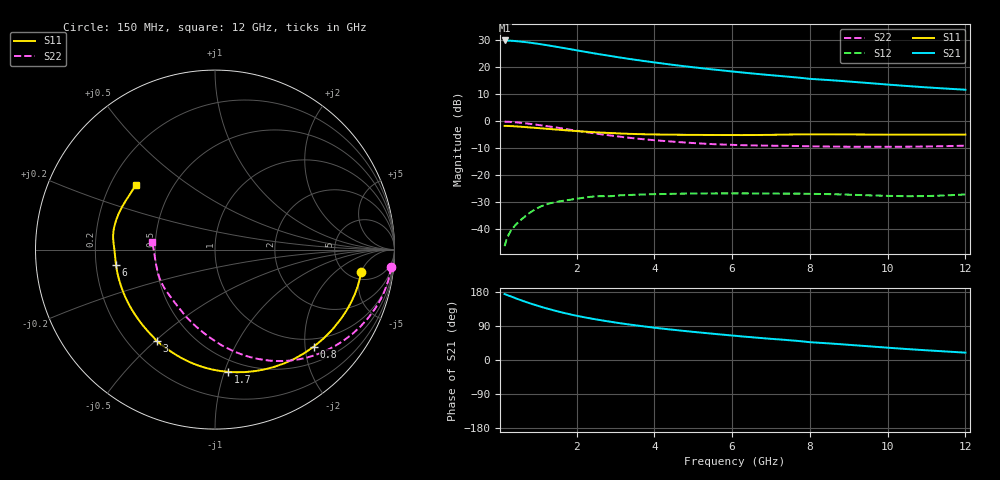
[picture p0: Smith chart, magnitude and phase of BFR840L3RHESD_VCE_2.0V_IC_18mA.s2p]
! Infineon Technologies  Discrete & RF Semiconductors
! BFR840L3RHESD
! VCE =  2.0 V,  IC =  18 mA
! Common Emitter S-Parameters:  Jun 2012
# GHz  S  MA  R  50
!  f  S11  S21  S12  S22
! GHz  MAG  ANG  MAG  ANG  MAG  ANG  MAG  ANG
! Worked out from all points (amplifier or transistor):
!   91 points, 150 MHz to 12 GHz, reference 50 ohm
!   highest |S21| = 29.9 dB at 150 MHz (marker M1)
!   |S21| within 3 dB of that: start of sweep to 1.748 GHz
!   unconditionally stable (mu >= 1): 7.643 GHz to end of sweep
!   at 1.3 GHz: K = 0.18, MSG = 29.2 dB, |S12| = -30.4 dB
!   at 4.3 GHz: K = 0.54, MSG = 24.1 dB, |S12| = -26.9 dB
!   at 12 GHz: K = 1.84, MAG = 14.1 dB, |S12| = -27.1 dB
!   S11 on the Smith chart (normalised r, x): 150 MHz: 6.42, -4.98; 800 MHz: 0.82, -2.19; 1.7 GHz: 0.40, -1.03; 3 GHz: 0.32, -0.50; 6 GHz: 0.29, -0.07; 12 GHz: 0.31, +0.32
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0.15  0.8236 -8.7  31.39 174.0  0.0049 81.9  0.9859 -5.7
0.25  0.8209 -14.5  31.21 170.1  0.0079 81.3  0.9799 -10.3
0.4  0.8103 -23.0  30.69 164.3  0.0114 77.4  0.9643 -16.5
0.6  0.7916 -34.0  29.73 156.7  0.0157 70.1  0.9344 -24.1
0.8  0.7718 -44.4  28.58 149.6  0.0204 63.4  0.8988 -31.4
1  0.7519 -54.1  27.3 143.1  0.0249 58.4  0.8609 -38.2
1.2  0.732 -63.2  25.93 137.0  0.0287 54.6  0.8224 -44.6
1.4  0.7127 -71.8  24.55 131.4  0.0314 51.3  0.7837 -50.6
1.7  0.6854 -83.7  22.54 123.7  0.0343 46.8  0.7263 -58.7
2  0.661 -94.5  20.65 116.8  0.0369 42.4  0.6718 -66.1
2.2  0.6463 -101.0  19.48 112.7  0.0388 39.7  0.6385 -70.7
2.6  0.6212 -112.3  17.4 105.5  0.0413 34.5  0.5808 -78.9
3  0.6037 -122.6  15.68 98.9  0.042 32.5  0.5347 -86.0
3.5  0.5829 -133.5  13.82 91.7  0.0438 28.4  0.484 -94.6
4.2  0.5696 -146.2  11.79 82.9  0.0452 25.7  0.4362 -105.1
5  0.5617 -158.6  10.02 74.3  0.0461 22.6  0.3969 -116.3
6  0.5579 -171.2  8.382 64.6  0.0465 20.2  0.3672 -129.2
6.1  0.5577 -172.4  8.242 63.7  0.0465 20.1  0.3654 -130.5
8  0.5756 167.3  6.115 47.0  0.0456 17.9  0.3452 -155.3
8.5  0.5749 163.3  5.799 43.8  0.045 17.8  0.3419 -159.7
10.5  0.5655 148.4  4.506 28.9  0.0412 24.7  0.3396 -177.6
12  0.5699 141.0  3.848 19.4  0.0444 33.5  0.3549 173.1
